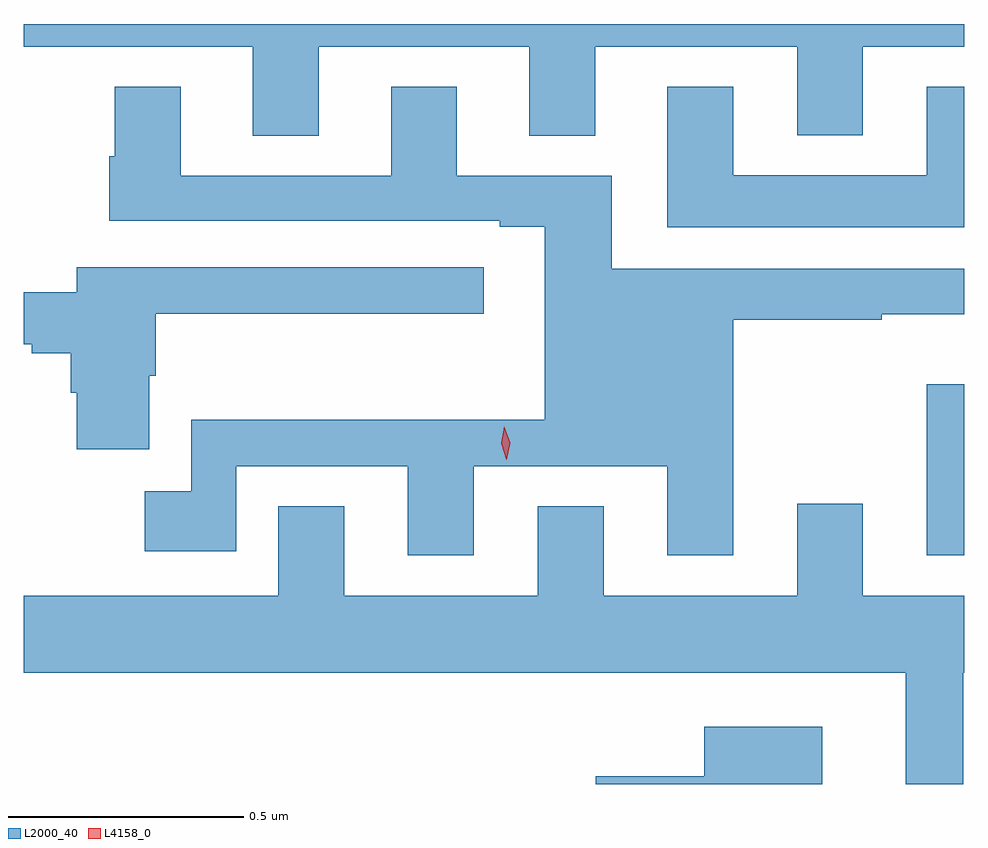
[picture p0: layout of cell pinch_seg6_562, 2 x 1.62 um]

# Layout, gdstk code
import gdstk
lib = gdstk.Library(unit=1e-6, precision=1e-09)
def R(c, l, rs):  # rectangles x0, y0, x1, y1
    for r in rs: c.add(gdstk.rectangle(r[:2], r[2:], *l))
def P(c, l, *ps):  # polygons
    for p in ps: c.add(gdstk.Polygon(p, *l))
L2000_40 = (2000, 40)
L4158_0 = (4158, 0)

pinch_seg6_562 = lib.new_cell('pinch_seg6_562')
R(pinch_seg6_562, L2000_40, [(622.712,996.87,622.791,997.234)])
P(pinch_seg6_562, L2000_40, [(620.791,997.952),(621.278,997.952),(621.278,997.762),(621.418,997.762),(621.418,997.952),(621.866,997.952),(621.866,997.762),(622.006,997.762),(622.006,997.952),(622.436,997.952),(622.436,997.763),(622.576,997.763),(622.576,997.952),(622.791,997.952),(622.791,998),(620.791,998)],
  [(622.791,997.867),(622.712,997.867),(622.712,997.678),(622.3,997.678),(622.3,997.867),(622.16,997.867),(622.16,997.568),(622.791,997.568)],
  [(621.748,997.059),(622.16,997.059),(622.16,996.87),(622.3,996.87),(622.3,997.371),(622.616,997.371),(622.616,997.382),(622.791,997.382),(622.791,997.479),(622.042,997.479),(622.042,997.677),(621.712,997.677),(621.712,997.867),(621.572,997.867),(621.572,997.677),(621.124,997.677),(621.124,997.867),(620.984,997.867),(620.984,997.719),(620.972,997.719),(620.972,997.581),(621.803,997.581),(621.803,997.569),(621.899,997.569),(621.899,997.158),(621.147,997.158),(621.147,997.006),(621.048,997.006),(621.048,996.878),(621.243,996.878),(621.243,997.059),(621.608,997.059),(621.608,996.87),(621.748,996.87)],
  [(621.058,997.252),(621.071,997.252),(621.071,997.384),(621.769,997.384),(621.769,997.482),(620.903,997.482),(620.903,997.429),(620.791,997.429),(620.791,997.319),(620.807,997.319),(620.807,997.3),(620.891,997.3),(620.891,997.215),(620.903,997.215),(620.903,997.095),(621.058,997.095)],
  [(622.576,996.979),(622.436,996.979),(622.436,996.784),(622.024,996.784),(622.024,996.974),(621.884,996.974),(621.884,996.784),(621.472,996.784),(621.472,996.974),(621.332,996.974),(621.332,996.784),(620.791,996.784),(620.791,996.62),(622.667,996.62),(622.667,996.383),(622.789,996.383),(622.789,996.62),(622.791,996.62),(622.791,996.784),(622.576,996.784)],
  [(622.489,996.505),(622.238,996.505),(622.238,996.4),(622.008,996.4),(622.008,996.383),(622.489,996.383)])
P(pinch_seg6_562, L4158_0, [(621.818,997.073),(621.817,997.074),(621.806,997.108),(621.813,997.143),(621.813,997.143),(621.813,997.143),(621.826,997.109),(621.818,997.074)])

lib.write_gds('pinch_seg6_562.gds')
